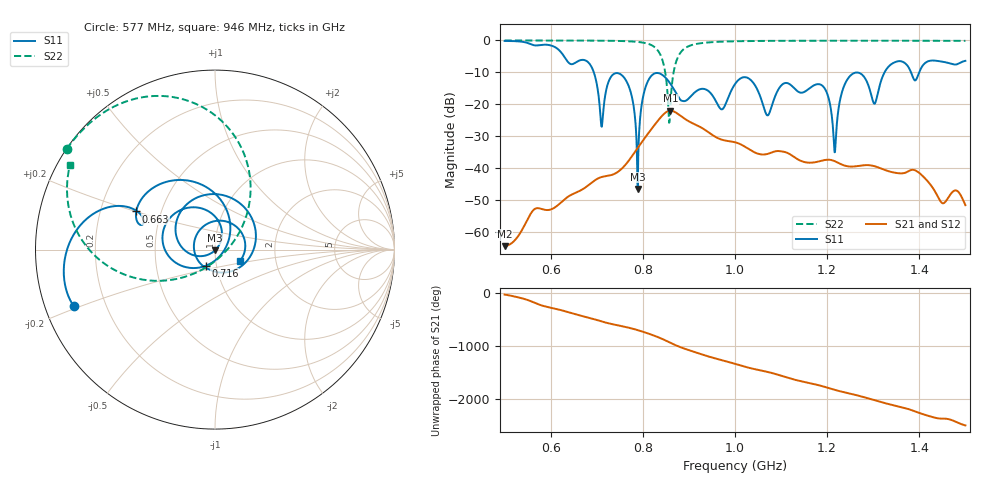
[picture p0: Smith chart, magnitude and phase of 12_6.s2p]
! TOUCHSTONE file generated by CST MICROWAVE STUDIO
! Date and time: Tue Nov 17 07:11:31 2020
! Project name: Scenario_1_Planar_Body_Tissue_Out_of_Line.cst
! Header version: 2018
! Port assignment regex: !\s*Touchstone port\s*([0-9]+)\s*=\s*(CST MWS port|CST DS port)\s*([0-9]+|Zmin|Zmax)\s*\(\"(.*)\"\)(\s*mode\s*([0-9]+))?.*
! Touchstone port assignment:
! Touchstone port 1 = CST MWS port 1 ("")
! Touchstone port 2 = CST MWS port 2 ("")
# GHz S DB R 50
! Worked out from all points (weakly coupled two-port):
!   1003 points, 500 MHz to 1.5 GHz, reference 50 ohm
!   highest |S21| = -21.99 dB at 860 MHz (marker M1); lowest = -64.4 dB at 500 MHz (marker M2)
!   lowest |S11| = -46.5 dB at 789 MHz (marker M3), VSWR 1.01, Z = 49.9 - j0.469 ohm
!   |S11| at or under -10 dB: 693.6 MHz to 1.325 GHz (630.9 MHz wide, 62.5 % of centre); 1.382 GHz to 1.4 GHz (17.57 MHz wide, 1.26 % of centre)
!   |S22| runs from -25.7 to 0.0 dB; largest |S21 - S12| = 8e-06
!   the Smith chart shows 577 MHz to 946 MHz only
!   S11 on the Smith chart (normalised r, x): 577 MHz: 0.09, -0.19; 663 MHz: 0.36, +0.20; 716 MHz: 0.89, -0.16; 946 MHz: 1.31, -0.17
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0.5  -0.15 -121.6  -64.37 -20.2  -64.37 -20.2  -0.01 151.2
0.577  -1.44 -158.2  -52.59 142.5  -52.59 142.5  -0.02 145.9
0.663  -6.24 154.2  -47.07 -55.0  -47.07 -55.0  -0.04 138.8
0.667  -6.10 148.9  -46.76 -64.0  -46.76 -64.0  -0.04 138.4
0.716  -19.59 -120.2  -42.56 175.9  -42.56 175.9  -0.09 132.8
0.757  -11.23 121.3  -39.73 94.8  -39.73 94.8  -0.20 126.1
0.789  -46.46 -98.6  -33.59 23.8  -33.59 23.8  -0.46 117.2
0.805  -15.01 178.5  -30.37 -19.9  -30.37 -19.9  -0.81 109.9
0.834  -10.23 85.0  -24.88 -112.7  -24.88 -112.7  -3.44 83.0
0.86  -13.60 -4.3  -21.99 143.1  -21.99 143.1  -19.66 -114.4
0.881  -18.52 -97.2  -23.51 62.9  -23.51 62.9  -3.97 -173.9
0.946  -16.32 -24.3  -29.10 -125.0  -29.10 -125.0  -0.58 149.8
1  -13.65 58.8  -31.86 105.3  -31.86 105.3  -0.26 140.2
1.071  -23.46 141.7  -35.49 -49.3  -35.49 -49.3  -0.14 132.3
1.105  -13.54 -27.5  -34.81 -134.2  -34.81 -134.2  -0.12 129.2
1.167  -14.42 76.4  -38.24 89.5  -38.24 89.5  -0.10 124.2
1.197  -15.62 -10.4  -37.37 22.4  -37.37 22.4  -0.09 121.9
1.217  -34.96 -166.7  -37.82 -30.1  -37.82 -30.1  -0.09 120.3
1.247  -11.57 55.5  -39.43 -95.1  -39.43 -95.1  -0.09 118.1
1.303  -19.81 15.8  -39.36 133.3  -39.36 133.3  -0.08 113.8
1.334  -8.08 24.4  -40.95 59.9  -40.95 59.9  -0.09 111.5
1.5  -6.38 -43.2  -51.54 15.5  -51.54 15.5  -0.13 97.9
